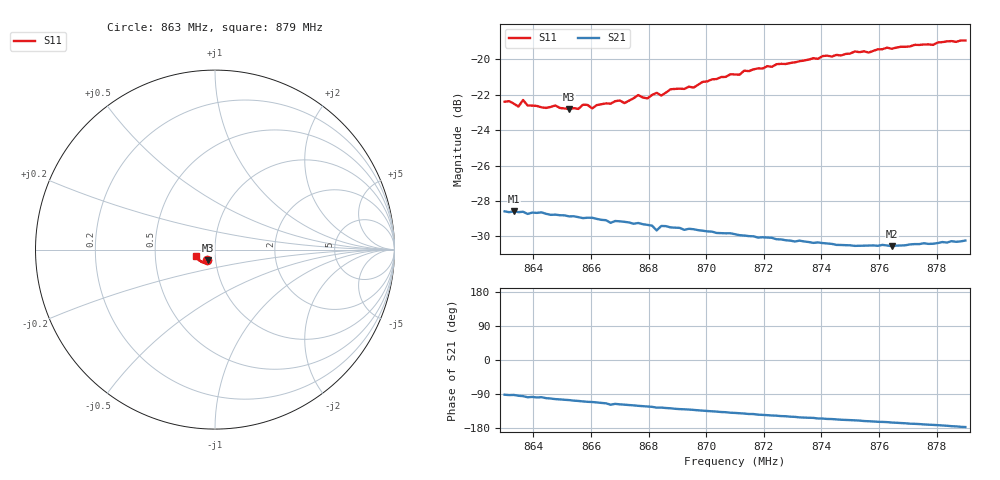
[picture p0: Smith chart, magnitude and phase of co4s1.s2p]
# HZ S RI R 50
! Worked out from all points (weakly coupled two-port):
!   101 points, 863 MHz to 879 MHz, reference 50 ohm
!   highest |S21| = -28.58 dB at 863.32 MHz (marker M1); lowest = -30.5 dB at 876.44 MHz (marker M2)
!   lowest |S11| = -22.8 dB at 865.24 MHz (marker M3), VSWR 1.16, Z = 45.8 - j5.57 ohm
!   |S11| at or under -10 dB: start of sweep to end of sweep
!   S12 and S22 are empty: the file has one direction only
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8.63e8  -0.0456 -0.0606  -0.00104 -0.0372  0 0  0 0
8.6332e8  -0.0424 -0.0617  -0.00142 -0.0372  0 0  0 0
8.6348e8  -0.0392 -0.0622  -0.0028 -0.0369  0 0  0 0
8.6364e8  -0.0484 -0.0595  -0.0035 -0.037  0 0  0 0
8.638e8  -0.0436 -0.0598  -0.0053 -0.0362  0 0  0 0
8.6524e8  -0.0399 -0.0604  -0.0098 -0.0347  0 0  0 0
8.6572e8  -0.0404 -0.0624  -0.0118 -0.0336  0 0  0 0
8.6604e8  -0.0384 -0.0616  -0.0127 -0.0334  0 0  0 0
8.6684e8  -0.0396 -0.065  -0.0152 -0.0315  0 0  0 0
8.6716e8  -0.039 -0.0642  -0.0163 -0.0307  0 0  0 0
8.6764e8  -0.0424 -0.0669  -0.0177 -0.0296  0 0  0 0
8.6796e8  -0.0407 -0.0659  -0.0184 -0.0287  0 0  0 0
8.6812e8  -0.0418 -0.0673  -0.0188 -0.0282  0 0  0 0
8.6828e8  -0.0408 -0.0692  -0.0192 -0.0267  0 0  0 0
8.6844e8  -0.0418 -0.067  -0.0197 -0.0275  0 0  0 0
8.6876e8  -0.0438 -0.0696  -0.0204 -0.0266  0 0  0 0
8.6956e8  -0.0455 -0.0695  -0.022 -0.0247  0 0  0 0
8.6988e8  -0.0476 -0.072  -0.0227 -0.0237  0 0  0 0
8.71e8  -0.0555 -0.0715  -0.0245 -0.0208  0 0  0 0
8.7372e8  -0.0725 -0.0698  -0.027 -0.0139  0 0  0 0
8.7644e8  -0.0917 -0.0551  -0.0287 -0.00766  0 0  0 0
8.79e8  -0.107 -0.0357  -0.0307 -0.00165  0 0  0 0
